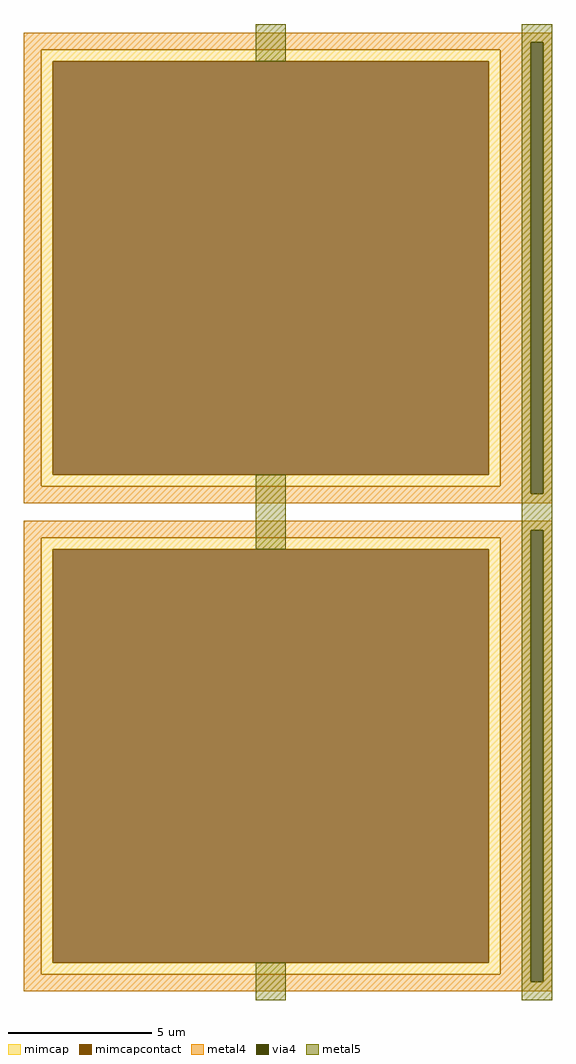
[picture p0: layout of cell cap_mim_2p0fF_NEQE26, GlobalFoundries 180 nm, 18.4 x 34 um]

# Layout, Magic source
magic
tech gf180mcuC
magscale 1 10
<< mimcap >>
rect -1720 3140 1480 3220
rect -1720 260 -1640 3140
rect 1400 260 1480 3140
rect -1720 180 1480 260
rect -1720 -260 1480 -180
rect -1720 -3140 -1640 -260
rect 1400 -3140 1480 -260
rect -1720 -3220 1480 -3140
<< mimcapcontact >>
rect -1640 260 1400 3140
rect -1640 -3140 1400 -260
<< metal4 >>
rect -1840 3273 1840 3340
rect -1840 3220 1690 3273
rect -1840 180 -1720 3220
rect 1480 180 1690 3220
rect -1840 127 1690 180
rect 1778 127 1840 3273
rect -1840 60 1840 127
rect -1840 -127 1840 -60
rect -1840 -180 1690 -127
rect -1840 -3220 -1720 -180
rect 1480 -3220 1690 -180
rect -1840 -3273 1690 -3220
rect 1778 -3273 1840 -127
rect -1840 -3340 1840 -3273
<< via4 >>
rect 1690 127 1778 3273
rect 1690 -3273 1778 -127
<< metal5 >>
rect -226 3140 -14 3400
rect 1628 3273 1840 3400
rect -226 -260 -14 260
rect 1628 127 1690 3273
rect 1778 127 1840 3273
rect 1628 -127 1840 127
rect -226 -3400 -14 -3140
rect 1628 -3273 1690 -127
rect 1778 -3273 1840 -127
rect 1628 -3400 1840 -3273
<< properties >>
string FIXED_BBOX -1840 60 1600 3340
string gencell cap_mim_2p0fF
string library gf180mcu
string parameters w 16 l 15.2 val 7.328k carea 25.00 cperi 20.00 nx 1 ny 2 dummy 0 square 0 lmin 5.00 wmin 5.00 lmax 100.0 wmax 100.0 dc 0 bconnect 1 tconnect 1
<< end >>
